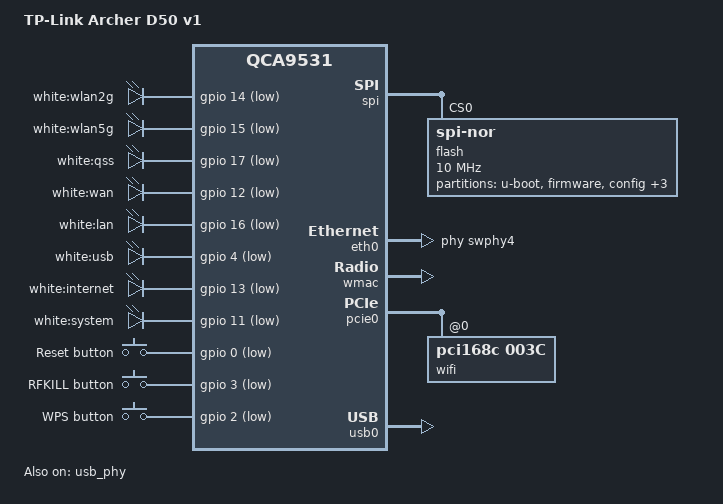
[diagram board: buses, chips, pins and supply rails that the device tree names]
// SPDX-License-Identifier: GPL-2.0-or-later OR MIT

#include "qca953x.dtsi"

#include <dt-bindings/gpio/gpio.h>
#include <dt-bindings/input/input.h>

/ {
	compatible = "tplink,archer-d50-v1", "qca,qca9531";
	model = "TP-Link Archer D50 v1";

	aliases {
		led-boot = &led_system;
		led-failsafe = &led_system;
		led-running = &led_system;
		led-upgrade = &led_system;
		label-mac-device = &wmac;
	};

	leds {
		compatible = "gpio-leds";

		wlan2g {
			label = "white:wlan2g";
			gpios = <&gpio 14 GPIO_ACTIVE_LOW>;
			linux,default-trigger = "phy0tpt";
		};

		wlan5g {
			label = "white:wlan5g";
			gpios = <&gpio 15 GPIO_ACTIVE_LOW>;
			linux,default-trigger = "phy1tpt";
		};

		qss {
			label = "white:qss";
			gpios = <&gpio 17 GPIO_ACTIVE_LOW>;
		};

		wan {
			label = "white:wan";
			gpios = <&gpio 12 GPIO_ACTIVE_LOW>;
		};

		lan {
			label = "white:lan";
			gpios = <&gpio 16 GPIO_ACTIVE_LOW>;
		};

		usb {
			label = "white:usb";
			gpios = <&gpio 4 GPIO_ACTIVE_LOW>;
			trigger-sources = <&hub_port0>;
			linux,default-trigger = "usbport";
		};

		internet {
			label = "white:internet";
			gpios = <&gpio 13 GPIO_ACTIVE_LOW>;
		};

		led_system: system {
			label = "white:system";
			gpios = <&gpio 11 GPIO_ACTIVE_LOW>;
			default-state = "on";
		};
	};

	keys {
		compatible = "gpio-keys";

		reset {
			label = "Reset button";
			linux,code = <KEY_RESTART>;
			gpios = <&gpio 0 GPIO_ACTIVE_LOW>;
		};

		rfkill {
			label = "RFKILL button";
			linux,code = <KEY_RFKILL>;
			gpios = <&gpio 3 GPIO_ACTIVE_LOW>;
		};

		wps {
			label = "WPS button";
			linux,code = <KEY_WPS_BUTTON>;
			gpios = <&gpio 2 GPIO_ACTIVE_LOW>;
		};
	};
};

&spi {
	status = "okay";

	flash@0 {
		compatible = "jedec,spi-nor";
		reg = <0>;
		spi-max-frequency = <10000000>;

		partitions {
			compatible = "fixed-partitions";
			#address-cells = <1>;
			#size-cells = <1>;

			partition@0 {
				label = "u-boot";
				reg = <0x000000 0x020000>;
				read-only;
			};

			partition@20000 {
				compatible = "tplink,firmware";
				label = "firmware";
				reg = <0x020000 0x7a0000>;
			};

			partition@7c0000 {
				label = "config";
				reg = <0x7c0000 0x010000>;
				read-only;
			};

			romfile: partition@7d0000 {
				label = "romfile";
				reg = <0x7d0000 0x010000>;
				read-only;
			};

			partition@7e0000 {
				label = "rom";
				reg = <0x7e0000 0x010000>;
				read-only;
			};

			art: partition@7f0000 {
				label = "art";
				reg = <0x7f0000 0x010000>;
				read-only;
			};
		};
	};
};

&eth0 {
	status = "okay";

	phy-handle = <&swphy4>;

	nvmem-cells = <&macaddr_romfile_f100>;
	nvmem-cell-names = "mac-address";
	mac-address-increment = <1>;
};

&eth1 {
	nvmem-cells = <&macaddr_romfile_f100>;
	nvmem-cell-names = "mac-address";
};

&wmac {
	status = "okay";

	mtd-cal-data = <&art 0x1000>;
	nvmem-cells = <&macaddr_romfile_f100>;
	nvmem-cell-names = "mac-address";
};

&pcie0 {
	status = "okay";

	wifi@0,0 {
		compatible = "pci168c,003c";
		reg = <0x0000 0 0 0 0>;
	};
};

&usb_phy {
	status = "okay";
};

&usb0 {
	#address-cells = <1>;
	#size-cells = <0>;
	status = "okay";

	hub_port0: port@1 {
		reg = <1>;
		#trigger-source-cells = <0>;
	};
};

&romfile {
	compatible = "nvmem-cells";
	#address-cells = <1>;
	#size-cells = <1>;

	macaddr_romfile_f100: macaddr@f100 {
		reg = <0xf100 0x6>;
	};
};
